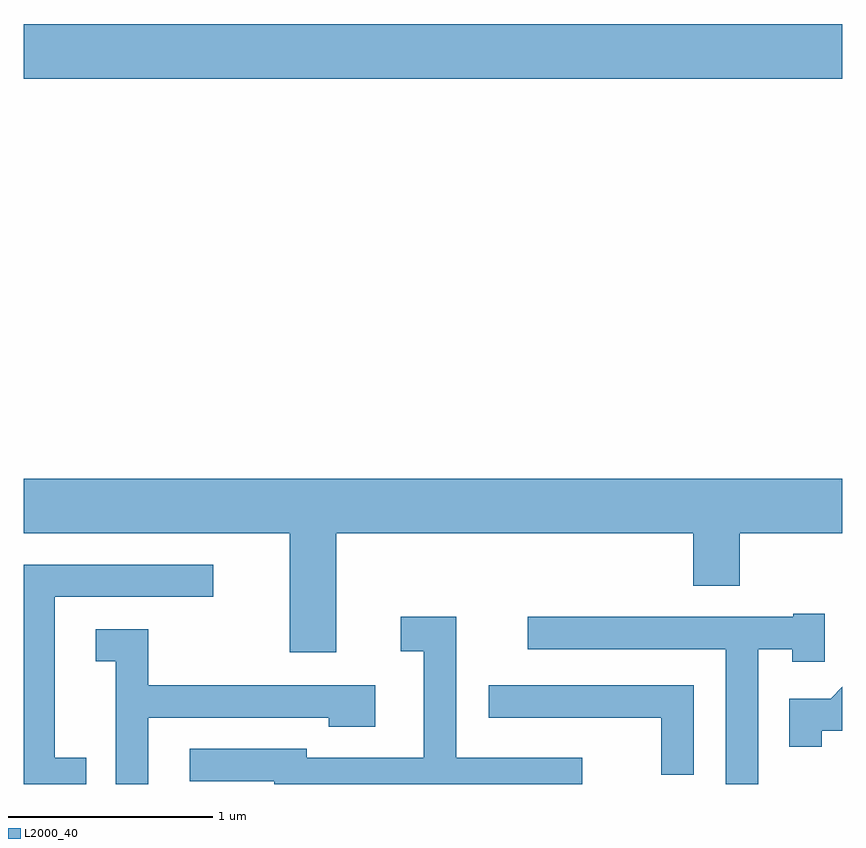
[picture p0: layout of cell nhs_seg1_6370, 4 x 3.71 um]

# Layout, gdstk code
import gdstk
lib = gdstk.Library(unit=1e-6, precision=1e-09)
def R(c, l, rs):  # rectangles x0, y0, x1, y1
    for r in rs: c.add(gdstk.rectangle(r[:2], r[2:], *l))
def P(c, l, *ps):  # polygons
    for p in ps: c.add(gdstk.Polygon(p, *l))
L2000_40 = (2000, 40)

nhs_seg1_6370 = lib.new_cell('nhs_seg1_6370')
R(nhs_seg1_6370, L2000_40, [(377.611,875.156,381.611,875.424)])
P(nhs_seg1_6370, L2000_40, [(379.139,872.936),(380.881,872.936),(380.881,872.681),(381.109,872.681),(381.109,872.936),(381.611,872.936),(381.611,873.204),(377.611,873.204),(377.611,872.936),(378.911,872.936),(378.911,872.356),(379.139,872.356)],
  [(377.918,871.839),(377.764,871.839),(377.764,872.626),(378.538,872.626),(378.538,872.784),(377.611,872.784),(377.611,871.712),(377.918,871.712)],
  [(381.199,872.371),(381.366,872.371),(381.366,872.308),(381.524,872.308),(381.524,872.544),(381.37,872.544),(381.37,872.529),(380.073,872.529),(380.073,872.371),(381.041,872.371),(381.041,871.712),(381.199,871.712)],
  [(380.339,871.839),(379.724,871.839),(379.724,872.529),(379.453,872.529),(379.453,872.361),(379.566,872.361),(379.566,871.839),(378.994,871.839),(378.994,871.884),(378.423,871.884),(378.423,871.726),(378.836,871.726),(378.836,871.712),(380.339,871.712)],
  [(378.219,872.036),(379.101,872.036),(379.101,871.991),(379.329,871.991),(379.329,872.194),(378.219,872.194),(378.219,872.469),(377.963,872.469),(377.963,872.311),(378.061,872.311),(378.061,871.712),(378.219,871.712)],
  [(380.884,872.194),(379.883,872.194),(379.883,872.036),(380.726,872.036),(380.726,871.758),(380.884,871.758)],
  [(381.509,871.971),(381.611,871.971),(381.611,872.186),(381.554,872.129),(381.351,872.129),(381.351,871.893),(381.509,871.893)])

lib.write_gds('nhs_seg1_6370.gds')
